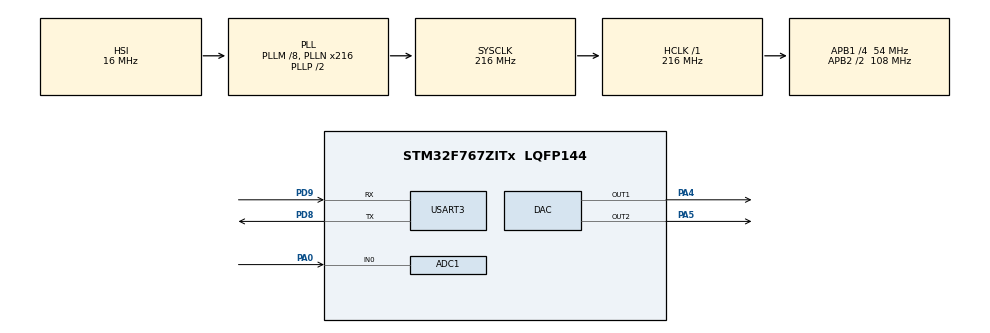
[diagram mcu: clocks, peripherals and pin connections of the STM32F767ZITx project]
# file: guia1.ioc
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Mcu.Family=STM32F7
NVIC.USART3_IRQn=true\:0\:0\:false\:false\:true\:true\:true
Dma.DAC2.0.MemDataAlignment=DMA_MDATAALIGN_WORD
RCC.CortexFreq_Value=216000000
ADC1.ContinuousConvMode=DISABLE
PA14.GPIO_Label=TCK
RCC.SYSCLKSourceVirtual=RCC_SYSCLKSOURCE_PLLCLK
PA0/WKUP.Signal=ADCx_IN0
PD9.Mode=Asynchronous
RCC.SYSCLKSource=RCC_SYSCLKSOURCE_PLLCLK
ProjectManager.StackSize=0x400
SH.COMP_DAC2_group.0=DAC_OUT2,DAC_OUT2
Dma.DAC2.0.PeriphInc=DMA_PINC_DISABLE
USART3.VirtualMode-Asynchronous=VM_ASYNC
NVIC.ADC_IRQn=true\:0\:0\:false\:false\:true\:true\:true
Dma.DAC2.0.Priority=DMA_PRIORITY_VERY_HIGH
RCC.HCLKFreq_Value=216000000
RCC.APB2TimFreq_Value=216000000
PD8.Signal=USART3_TX
Dma.DAC2.0.Direction=DMA_MEMORY_TO_PERIPH
RCC.AHBFreq_Value=216000000
RCC.HSE_VALUE=16000000
RCC.PLLMUL=RCC_PLL_MUL9
DAC.DAC_Trigger2=DAC_TRIGGER_T2_TRGO
PA14.Mode=Serial_Wire
NVIC.TIM2_IRQn=true\:0\:0\:false\:false\:true\:true\:true
SH.ADCx_IN0.0=ADC1_IN0,IN0
Dma.DAC2.0.MemInc=DMA_MINC_ENABLE
Mcu.Package=LQFP144
TIM2.Prescaler=1-1
TIM2.TIM_MasterOutputTrigger=TIM_TRGO_UPDATE
RCC.APB2CLKDivider=RCC_HCLK_DIV2
RCC.APB1TimFreq_Value=108000000
NVIC.DMA1_Stream6_IRQn=true\:0\:0\:false\:false\:true\:false\:true
Dma.Request0=DAC2
ADC1.EOCSelection=ADC_EOC_SEQ_CONV
SH.COMP_DAC1_group.0=DAC_OUT1,DAC_OUT1
TIM6.Prescaler=0
VP_TIM6_VS_ClockSourceINT.Mode=Enable_Timer
PD9.Signal=USART3_RX
RCC.APB1CLKDivider=RCC_HCLK_DIV4
PA13.Signal=SYS_JTMS-SWDIO
TIM6.AutoReloadPreload=TIM_AUTORELOAD_PRELOAD_DISABLE
ProjectManager.TargetToolchain=STM32CubeIDE
ADC1.Channel-1\#ChannelRegularConversion=ADC_CHANNEL_0
RCC.USBFreq_Value=216000000
RCC.LSE_VALUE=32768
PD8.Mode=Asynchronous
PA5.Signal=COMP_DAC2_group
board=NUCLEO-F767ZI
RCC.VCOOutputFreq_Value=432000000
RCC.APB2Freq_Value=108000000
RCC.PRESCALERUSB=RCC_USBCLKSOURCE_PLL_DIV1_5
VP_TIM2_VS_ClockSourceINT.Mode=Internal
TIM6.TIM_MasterOutputTrigger=TIM_TRGO_UPDATE
Dma.DAC2.0.Instance=DMA1_Stream6
Dma.DAC2.0.PeriphDataAlignment=DMA_PDATAALIGN_WORD
TIM2.Period=36000-1
PA13.Mode=Serial_Wire
Mcu.Name=STM32F767ZITx
PA13.GPIO_Label=TMS
ADC1.ExternalTrigConv=ADC_EXTERNALTRIGCONV_T6_TRGO
RCC.48MHZClocksFreq_Value=24000000
PA4.Signal=COMP_DAC1_group
ADC1.SamplingTime-1\#ChannelRegularConversion=ADC_SAMPLETIME_3CYCLES
RCC.SYSCLKFreq_VALUE=216000000
ADC1.master=1
Dma.DAC2.0.FIFOMode=DMA_FIFOMODE_DISABLE
Dma.DAC2.0.Mode=DMA_CIRCULAR
ADC1.Rank-1\#ChannelRegularConversion=1
PA14.Signal=SYS_JTCK-SWCLK
ProjectManager.HeapSize=0x200
RCC.HSI_VALUE=16000000
NVIC.PriorityGroup=NVIC_PRIORITYGROUP_4
ADC1.NbrOfConversionFlag=1
RCC.PLLM=8
RCC.PLLN=216
RCC.APB1Freq_Value=54000000

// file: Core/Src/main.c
/* USER CODE BEGIN Header */
/**
  ******************************************************************************
  * @file           : main.c
  * @brief          : Main program body
  ******************************************************************************
  * @attention
  *
  * <h2><center>&copy; Copyright (c) 2021 STMicroelectronics.
  * All rights reserved.</center></h2>
  *
  * This software component is licensed by ST under BSD 3-Clause license,
  * the "License"; You may not use this file except in compliance with the
  * License. You may obtain a copy of the License at:
  *                        opensource.org/licenses/BSD-3-Clause
  *
  ******************************************************************************
  */
/* USER CODE END Header */
#include "main.h"
#include "adc.h"
#include "dac.h"
#include "dma.h"
#include "tim.h"
#include "usart.h"
#include "gpio.h"

/* USER CODE BEGIN Includes */
#include <string.h>
#include "commands.h"
#include "interface.h" // print startup message
/* USER CODE END Includes */

/* USER CODE BEGIN PV */
char last_valid_cmd[RX_BUFF_LEN] = {0};

/* USER CODE END PV */

void SystemClock_Config(void);

int main(void)
{
  /* USER CODE BEGIN 1 */
	char c;
  /* USER CODE END 1 */

  /* MCU Configuration--------------------------------------------------------*/

  /* Reset of all peripherals, Initializes the Flash interface and the Systick. */
  HAL_Init();

  /* Configure the system clock */
  SystemClock_Config();

  /* Initialize all configured peripherals */
  MX_GPIO_Init();
  MX_DMA_Init();
  MX_USART3_UART_Init();
  MX_ADC1_Init();
  MX_DAC_Init();
  MX_TIM2_Init();
  MX_TIM6_Init();
  /* USER CODE BEGIN 2 */

  // print startup message
  ver_cb(1, NULL);
  UART_puts("\n\rType '?' for list of available commands\n\r");
  UART_puts("Type '? <cmd>' for more info on a given command\n\r");

  /* USER CODE END 2 */

  /* Infinite loop */
  /* USER CODE BEGIN WHILE */

	UART_putchar('>'); // print prompt
	Rx_UART_init(); // set USART3 interrupt

	while (1)
  {
		if(Rx_flag)
		{
			c = UART_Receive(); // Returns received char
			if(c != (char)(-1))
				// Its not a special character
				UART_putchar(c); // Received char is echoed

			Rx_flag = 0;
		}

		if(cmd_received)
		{
			if(exec_cmd(Rx_Buffer) == 0)// Is there an error?
				// No error. Command is valid
				strcpy(last_valid_cmd, Rx_Buffer); // Save this as last valid command

			UART_putchar('>');// print prompt
			cmd_received = 0;
			Rx_UART_init(); // ready to begin reception
		}

    /* USER CODE END WHILE */

  }
}

void SystemClock_Config(void)
{
  RCC_OscInitTypeDef RCC_OscInitStruct = {0};
  RCC_ClkInitTypeDef RCC_ClkInitStruct = {0};
  RCC_PeriphCLKInitTypeDef PeriphClkInitStruct = {0};

  /** Configure the main internal regulator output voltage
  */
  __HAL_RCC_PWR_CLK_ENABLE();
  __HAL_PWR_VOLTAGESCALING_CONFIG(PWR_REGULATOR_VOLTAGE_SCALE1);
  /** Initializes the RCC Oscillators according to the specified parameters
  * in the RCC_OscInitTypeDef structure.
  */
  RCC_OscInitStruct.OscillatorType = RCC_OSCILLATORTYPE_HSI;
  RCC_OscInitStruct.HSIState = RCC_HSI_ON;
  RCC_OscInitStruct.HSICalibrationValue = RCC_HSICALIBRATION_DEFAULT;
  RCC_OscInitStruct.PLL.PLLState = RCC_PLL_ON;
  RCC_OscInitStruct.PLL.PLLSource = RCC_PLLSOURCE_HSI;
  RCC_OscInitStruct.PLL.PLLM = 8;
  RCC_OscInitStruct.PLL.PLLN = 216;
  RCC_OscInitStruct.PLL.PLLP = RCC_PLLP_DIV2;
  RCC_OscInitStruct.PLL.PLLQ = 2;
  if (HAL_RCC_OscConfig(&RCC_OscInitStruct) != HAL_OK)
  {
    Error_Handler();
  }
  /** Activate the Over-Drive mode
  */
  if (HAL_PWREx_EnableOverDrive() != HAL_OK)
  {
    Error_Handler();
  }
  /** Initializes the CPU, AHB and APB buses clocks
  */
  RCC_ClkInitStruct.ClockType = RCC_CLOCKTYPE_HCLK|RCC_CLOCKTYPE_SYSCLK
                              |RCC_CLOCKTYPE_PCLK1|RCC_CLOCKTYPE_PCLK2;
  RCC_ClkInitStruct.SYSCLKSource = RCC_SYSCLKSOURCE_PLLCLK;
  RCC_ClkInitStruct.AHBCLKDivider = RCC_SYSCLK_DIV1;
  RCC_ClkInitStruct.APB1CLKDivider = RCC_HCLK_DIV4;
  RCC_ClkInitStruct.APB2CLKDivider = RCC_HCLK_DIV2;

  if (HAL_RCC_ClockConfig(&RCC_ClkInitStruct, FLASH_LATENCY_7) != HAL_OK)
  {
    Error_Handler();
  }
  PeriphClkInitStruct.PeriphClockSelection = RCC_PERIPHCLK_USART3;
  PeriphClkInitStruct.Usart3ClockSelection = RCC_USART3CLKSOURCE_PCLK1;
  if (HAL_RCCEx_PeriphCLKConfig(&PeriphClkInitStruct) != HAL_OK)
  {
    Error_Handler();
  }
}

void Error_Handler(void)
{
  __disable_irq();
  while (1)
  {
  }
}

/************************ (C) COPYRIGHT STMicroelectronics *****END OF FILE****/
